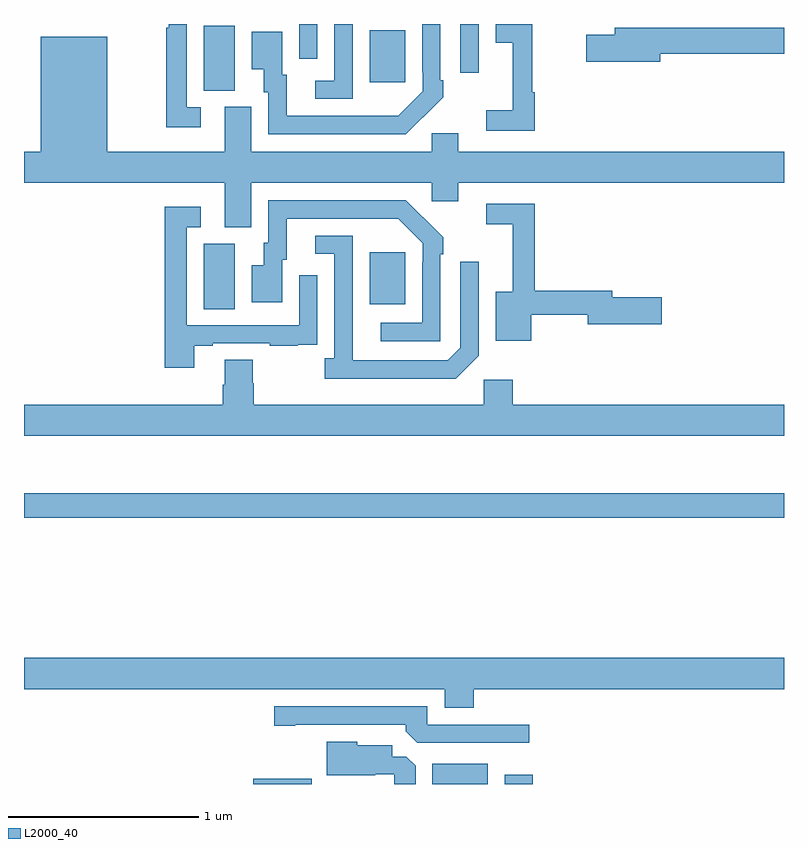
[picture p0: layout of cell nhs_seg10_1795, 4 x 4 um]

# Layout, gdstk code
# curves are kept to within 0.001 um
import gdstk
lib = gdstk.Library(unit=1e-6, precision=1e-09)
def R(c, l, rs):  # rectangles x0, y0, x1, y1
    for r in rs: c.add(gdstk.rectangle(r[:2], r[2:], *l))
def P(c, l, *ps):  # polygons
    for p in ps: c.add(gdstk.Polygon(p, *l))
L2000_40 = (2000, 40)

nhs_seg10_1795 = lib.new_cell('nhs_seg10_1795')
R(nhs_seg10_1795, L2000_40, [(206.207,1282.5,206.515,1282.528), (207.149,1282.5,207.442,1282.606), (207.53,1282.5,207.677,1282.549), (205,1283.902,209,1284.031), (205.946,1285,206.11,1285.344), (206.819,1285.025,207.007,1285.3), (205.946,1286.149,206.11,1286.492), (206.819,1286.193,207.007,1286.467), (207.297,1286.244,207.393,1286.5), (206.448,1286.316,206.544,1286.5)])
P(nhs_seg10_1795, L2000_40, [(207.101,1286.011),(207.102,1286.01),(207.207,1286.115),(207.207,1286.203),(207.192,1286.203),(207.192,1286.5),(207.096,1286.5),(207.096,1286.245),(207.099,1286.245),(207.099,1286.145),(206.971,1286.017),(206.383,1286.016),(206.383,1286.232),(206.359,1286.232),(206.359,1286.458),(206.198,1286.458),(206.198,1286.261),(206.261,1286.261),(206.261,1286.142),(206.286,1286.142),(206.286,1285.92),(207.01,1285.92)],
  [(205.93,1286.061),(205.857,1286.061),(205.857,1286.5),(205.761,1286.5),(205.761,1286.48),(205.749,1286.48),(205.749,1285.956),(205.93,1285.956)],
  [(206.73,1286.5),(206.634,1286.5),(206.634,1286.202),(206.532,1286.202),(206.532,1286.106),(206.73,1286.106)],
  [(207.689,1286.141),(207.674,1286.141),(207.674,1286.5),(207.482,1286.5),(207.482,1286.402),(207.572,1286.402),(207.572,1286.047),(207.432,1286.047),(207.432,1285.938),(207.689,1285.938)],
  [(208.348,1286.344),(209,1286.344),(209,1286.48),(208.109,1286.48),(208.109,1286.444),(207.96,1286.444),(207.96,1286.302),(208.348,1286.302)],
  [(206.197,1285.664),(207.147,1285.664),(207.147,1285.566),(207.286,1285.566),(207.286,1285.664),(209,1285.664),(209,1285.828),(207.286,1285.828),(207.286,1285.926),(207.147,1285.926),(207.147,1285.828),(206.197,1285.828),(206.197,1286.064),(206.057,1286.064),(206.057,1285.828),(205.438,1285.828),(205.438,1286.434),(205.088,1286.434),(205.088,1285.828),(205,1285.828),(205,1285.664),(206.057,1285.664),(206.057,1285.429),(206.197,1285.429)],
  [(207.192,1285.289),(207.207,1285.289),(207.207,1285.377),(207.01,1285.572),(206.286,1285.572),(206.286,1285.35),(206.261,1285.35),(206.261,1285.231),(206.198,1285.231),(206.198,1285.035),(206.359,1285.035),(206.359,1285.26),(206.383,1285.26),(206.383,1285.476),(206.971,1285.476),(207.099,1285.347),(207.099,1285.247),(207.096,1285.247),(207.096,1284.927),(206.877,1284.927),(206.877,1284.831),(207.192,1284.831)],
  [(207.67,1284.969),(207.968,1284.969),(207.968,1284.919),(208.357,1284.919),(208.357,1285.061),(208.096,1285.061),(208.096,1285.097),(207.689,1285.097),(207.689,1285.554),(207.432,1285.554),(207.432,1285.446),(207.572,1285.446),(207.572,1285.09),(207.482,1285.09),(207.482,1284.833),(207.67,1284.833)],
  [(205.897,1284.807),(205.993,1284.807),(205.993,1284.819),(206.293,1284.819),(206.293,1284.807),(206.441,1284.807),(206.441,1284.813),(206.543,1284.813),(206.543,1284.922),(206.544,1284.922),(206.544,1285.177),(206.448,1285.177),(206.448,1284.915),(205.857,1284.915),(205.857,1285.431),(205.93,1285.431),(205.93,1285.537),(205.741,1285.537),(205.741,1284.69),(205.897,1284.69)],
  [(207.393,1284.753),(207.393,1285.249),(207.297,1285.249),(207.297,1284.795),(207.231,1284.729),(206.731,1284.729),(206.73,1285.386),(206.532,1285.386),(206.532,1285.29),(206.634,1285.29),(206.634,1284.742),(206.583,1284.742),(206.583,1284.632),(207.272,1284.632)],
  [(209,1284.496),(207.572,1284.496),(207.572,1284.628),(207.42,1284.628),(207.42,1284.496),(206.21,1284.496),(206.21,1284.609),(206.205,1284.609),(206.205,1284.734),(206.057,1284.734),(206.057,1284.602),(206.045,1284.602),(206.045,1284.496),(205,1284.496),(205,1284.332),(209,1284.332)],
  [(207.368,1283),(209,1283),(209,1283.164),(205,1283.164),(205,1283),(207.215,1283),(207.215,1282.901),(207.368,1282.901)],
  [(207.658,1282.812),(207.123,1282.812),(207.123,1282.908),(206.316,1282.908),(206.316,1282.807),(206.428,1282.807),(206.428,1282.812),(207.008,1282.812),(207.008,1282.778),(207.069,1282.716),(207.658,1282.716)],
  [(207.061,1282.595),(207.012,1282.644),(206.938,1282.644),(206.938,1282.705),(206.754,1282.705),(206.754,1282.723),(206.594,1282.723),(206.594,1282.547),(206.849,1282.547),(206.849,1282.551),(206.949,1282.551),(206.949,1282.5),(207.061,1282.5)])

lib.write_gds('nhs_seg10_1795.gds')
